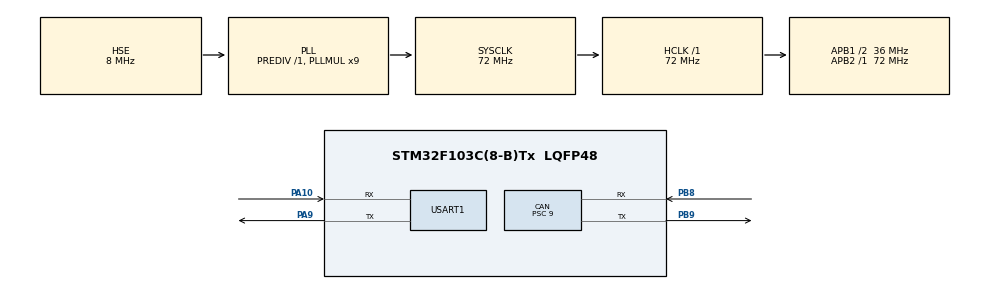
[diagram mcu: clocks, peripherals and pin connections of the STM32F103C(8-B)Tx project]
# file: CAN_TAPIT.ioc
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CAN.BS1=CAN_BS1_3TQ
CAN.BS2=CAN_BS2_4TQ
CAN.CalculateBaudRate=500000
CAN.CalculateTimeBit=2000
CAN.CalculateTimeQuantum=250.0
CAN.Mode=CAN_MODE_LOOPBACK
CAN.Prescaler=9
Mcu.Family=STM32F1
Mcu.Name=STM32F103C(8-B)Tx
Mcu.Package=LQFP48
NVIC.PriorityGroup=NVIC_PRIORITYGROUP_4
NVIC.USB_LP_CAN1_RX0_IRQn=true\:0\:0\:false\:false\:true\:true\:true\:true
PA10.Mode=Asynchronous
PA10.Signal=USART1_RX
PA13.Mode=Serial_Wire
PA13.Signal=SYS_JTMS-SWDIO
PA14.Mode=Serial_Wire
PA14.Signal=SYS_JTCK-SWCLK
PA9.Mode=Asynchronous
PA9.Signal=USART1_TX
PB8.GPIO_PuPd=GPIO_NOPULL
PB8.Mode=CAN_Activate
PB8.Signal=CAN_RX
PB9.Mode=CAN_Activate
PB9.Signal=CAN_TX
PD0-OSC_IN.Mode=HSE-External-Oscillator
PD0-OSC_IN.Signal=RCC_OSC_IN
PD1-OSC_OUT.Mode=HSE-External-Oscillator
PD1-OSC_OUT.Signal=RCC_OSC_OUT
ProjectManager.HeapSize=0x200
ProjectManager.StackSize=0x400
ProjectManager.TargetToolchain=STM32CubeIDE
RCC.AHBFreq_Value=72000000
RCC.APB1CLKDivider=RCC_HCLK_DIV2
RCC.APB1Freq_Value=36000000
RCC.APB1TimFreq_Value=72000000
RCC.APB2Freq_Value=72000000
RCC.APB2TimFreq_Value=72000000
RCC.HCLKFreq_Value=72000000
RCC.PLLMUL=RCC_PLL_MUL9
RCC.PLLSourceVirtual=RCC_PLLSOURCE_HSE
RCC.SYSCLKFreq_VALUE=72000000
RCC.SYSCLKSource=RCC_SYSCLKSOURCE_PLLCLK
RCC.USBFreq_Value=72000000
USART1.VirtualMode=VM_ASYNC
board=custom

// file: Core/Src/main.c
/* USER CODE BEGIN Header */
/**
  ******************************************************************************
  * @file           : main.c
  * @brief          : Main program body
  ******************************************************************************
  * @attention
  *
  * Copyright (c) 2025 STMicroelectronics.
  * All rights reserved.
  *
  * This software is licensed under terms that can be found in the LICENSE file
  * in the root directory of this software component.
  * If no LICENSE file comes with this software, it is provided AS-IS.
  *
  ******************************************************************************
  */
/* USER CODE END Header */
#include "main.h"

CAN_HandleTypeDef hcan;

UART_HandleTypeDef huart1;

/* USER CODE BEGIN PV */
CAN_TxHeaderTypeDef   TxMsg; /* Header containing the information of the transmitted frame */
CAN_RxHeaderTypeDef   RxHeader; ; /* Header containing the information of the received frame */
uint8_t               TxData[8] = "TXgui__\n";  /* Buffer of the data to send */
uint8_t               RxData[8]; /* Buffer of the received data */
uint32_t              TxMailbox;  /* The number of the mail box that transmitted the Tx message */

/* USER CODE END PV */

void SystemClock_Config(void);
static void MX_GPIO_Init(void);
static void MX_CAN_Init(void);
static void MX_USART1_UART_Init(void);

int main(void)
{

  /* MCU Configuration--------------------------------------------------------*/

  /* Reset of all peripherals, Initializes the Flash interface and the Systick. */
  HAL_Init();

  /* Configure the system clock */
  SystemClock_Config();

  /* Initialize all configured peripherals */
  MX_GPIO_Init();
  MX_CAN_Init();
  MX_USART1_UART_Init();
  /* USER CODE BEGIN 2 */
  TxMsg.StdId = 0x123;
  TxMsg.RTR = CAN_RTR_DATA;
  TxMsg.IDE = CAN_ID_STD;
  TxMsg.DLC = 8;
  TxMsg.TransmitGlobalTime = DISABLE;
  TxData[6] = 0;

  /* USER CODE END 2 */

  /* Infinite loop */
  /* USER CODE BEGIN WHILE */
  while (1)
  {

	  TxData[6] ++; /* Increment the last byte */

      /* It's mandatory to look for a free Tx mail box */
	  while(HAL_CAN_GetTxMailboxesFreeLevel(&hcan) == 0); /* Wait till a Tx mailbox is free. Using while loop instead of HAL_Delay() */
      if (HAL_CAN_AddTxMessage(&hcan, &TxMsg, TxData, &TxMailbox) != HAL_OK)
      {
        /* Transmission request Error */
        Error_Handler();
      }
      HAL_Delay(1000);
    /* USER CODE END WHILE */

  }
}

void SystemClock_Config(void)
{
  RCC_OscInitTypeDef RCC_OscInitStruct = {0};
  RCC_ClkInitTypeDef RCC_ClkInitStruct = {0};

  /** Initializes the RCC Oscillators according to the specified parameters
  * in the RCC_OscInitTypeDef structure.
  */
  RCC_OscInitStruct.OscillatorType = RCC_OSCILLATORTYPE_HSE;
  RCC_OscInitStruct.HSEState = RCC_HSE_ON;
  RCC_OscInitStruct.HSEPredivValue = RCC_HSE_PREDIV_DIV1;
  RCC_OscInitStruct.HSIState = RCC_HSI_ON;
  RCC_OscInitStruct.PLL.PLLState = RCC_PLL_ON;
  RCC_OscInitStruct.PLL.PLLSource = RCC_PLLSOURCE_HSE;
  RCC_OscInitStruct.PLL.PLLMUL = RCC_PLL_MUL9;
  if (HAL_RCC_OscConfig(&RCC_OscInitStruct) != HAL_OK)
  {
    Error_Handler();
  }

  /** Initializes the CPU, AHB and APB buses clocks
  */
  RCC_ClkInitStruct.ClockType = RCC_CLOCKTYPE_HCLK|RCC_CLOCKTYPE_SYSCLK
                              |RCC_CLOCKTYPE_PCLK1|RCC_CLOCKTYPE_PCLK2;
  RCC_ClkInitStruct.SYSCLKSource = RCC_SYSCLKSOURCE_PLLCLK;
  RCC_ClkInitStruct.AHBCLKDivider = RCC_SYSCLK_DIV1;
  RCC_ClkInitStruct.APB1CLKDivider = RCC_HCLK_DIV2;
  RCC_ClkInitStruct.APB2CLKDivider = RCC_HCLK_DIV1;

  if (HAL_RCC_ClockConfig(&RCC_ClkInitStruct, FLASH_LATENCY_2) != HAL_OK)
  {
    Error_Handler();
  }
}

static void MX_CAN_Init(void)
{

  /* USER CODE BEGIN CAN_Init 0 */
	CAN_FilterTypeDef  sFilterConfig;

  /* USER CODE END CAN_Init 0 */

  hcan.Instance = CAN1;
  hcan.Init.Prescaler = 9;
  hcan.Init.Mode = CAN_MODE_LOOPBACK;
  hcan.Init.SyncJumpWidth = CAN_SJW_1TQ;
  hcan.Init.TimeSeg1 = CAN_BS1_3TQ;
  hcan.Init.TimeSeg2 = CAN_BS2_4TQ;
  hcan.Init.TimeTriggeredMode = DISABLE;
  hcan.Init.AutoBusOff = DISABLE;
  hcan.Init.AutoWakeUp = DISABLE;
  hcan.Init.AutoRetransmission = DISABLE;
  hcan.Init.ReceiveFifoLocked = DISABLE;
  hcan.Init.TransmitFifoPriority = DISABLE;
  if (HAL_CAN_Init(&hcan) != HAL_OK)
  {
    Error_Handler();
  }
  /* USER CODE BEGIN CAN_Init 2 */
  /* The CAN filter configuration */
    sFilterConfig.FilterBank = 10;
    sFilterConfig.FilterMode = CAN_FILTERMODE_IDMASK;
    sFilterConfig.FilterScale = CAN_FILTERSCALE_32BIT;
    sFilterConfig.FilterIdHigh = 0x0000;
    sFilterConfig.FilterIdLow = 0;
    sFilterConfig.FilterMaskIdHigh = 0x0000;
    sFilterConfig.FilterMaskIdLow = 0;
    sFilterConfig.FilterFIFOAssignment = CAN_RX_FIFO0; /* The data will be received in FIFO0 */
    sFilterConfig.FilterActivation = ENABLE;
    sFilterConfig.SlaveStartFilterBank = 0;
    if (HAL_CAN_ConfigFilter(&hcan, &sFilterConfig) != HAL_OK)
    {
      /* Filter configuration Error */
      Error_Handler();
    }
   /* Starting the CAN peripheral */
    if (HAL_CAN_Start(&hcan) != HAL_OK)
    {
      /* Start Error */
      Error_Handler();
    }
   /* Activate CAN RX notification on FIFO0 */
    if (HAL_CAN_ActivateNotification(&hcan, CAN_IT_RX_FIFO0_MSG_PENDING) != HAL_OK)
    {
      /* Notification Error */
      Error_Handler();
    }

  /* USER CODE END CAN_Init 2 */

}

static void MX_USART1_UART_Init(void)
{

  huart1.Instance = USART1;
  huart1.Init.BaudRate = 115200;
  huart1.Init.WordLength = UART_WORDLENGTH_8B;
  huart1.Init.StopBits = UART_STOPBITS_1;
  huart1.Init.Parity = UART_PARITY_NONE;
  huart1.Init.Mode = UART_MODE_TX_RX;
  huart1.Init.HwFlowCtl = UART_HWCONTROL_NONE;
  huart1.Init.OverSampling = UART_OVERSAMPLING_16;
  if (HAL_UART_Init(&huart1) != HAL_OK)
  {
    Error_Handler();
  }

}

static void MX_GPIO_Init(void)
{

  /* GPIO Ports Clock Enable */
  __HAL_RCC_GPIOD_CLK_ENABLE();
  __HAL_RCC_GPIOA_CLK_ENABLE();
  __HAL_RCC_GPIOB_CLK_ENABLE();

}

/* USER CODE BEGIN 4 */
void HAL_CAN_RxFifo0MsgPendingCallback(CAN_HandleTypeDef *hcan)
{
  /* Get RX message */
  if (HAL_CAN_GetRxMessage(hcan, CAN_RX_FIFO0, &RxHeader, RxData) != HAL_OK)
  {
    /* Reception Error */
    Error_Handler();
  }
  /* Transmit received data over UART */
    if (HAL_UART_Transmit(&huart1, RxData, 8, 100) != HAL_OK)
    {
      /* UART Transmission Error */
      Error_Handler();
    }
}

/* USER CODE END 4 */

void Error_Handler(void)
{
  __disable_irq();
  while (1)
  {
  }
}
